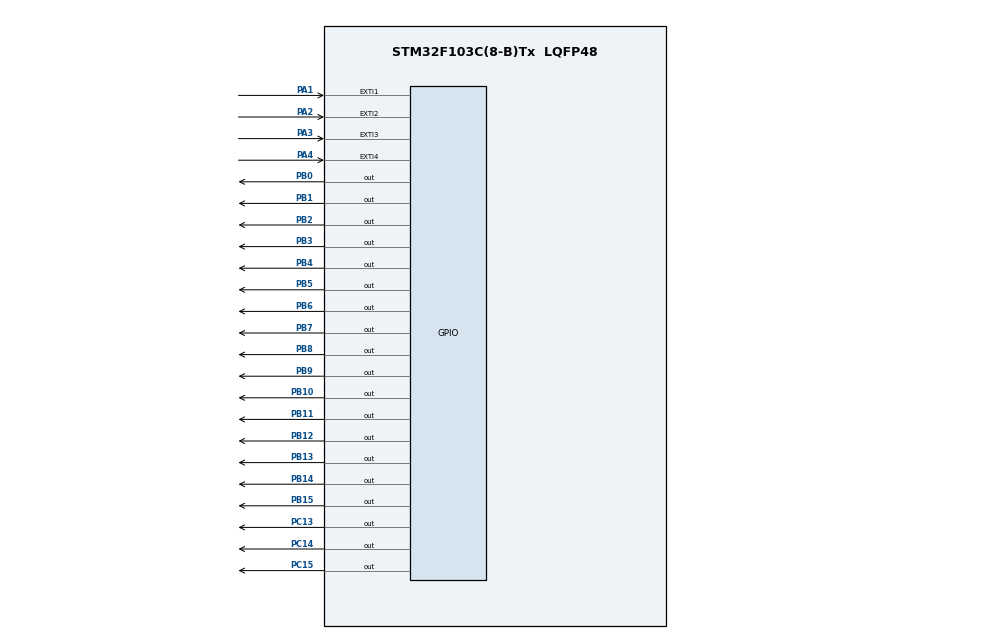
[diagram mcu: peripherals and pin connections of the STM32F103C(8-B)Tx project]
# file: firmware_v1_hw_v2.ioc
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Mcu.Family=STM32F1
Mcu.Name=STM32F103C(8-B)Tx
Mcu.Package=LQFP48
NVIC.EXTI1_IRQn=true\:0\:0\:false\:false\:true\:true\:true\:true
NVIC.EXTI2_IRQn=true\:0\:0\:false\:false\:true\:true\:true\:true
NVIC.EXTI3_IRQn=true\:0\:0\:false\:false\:true\:true\:true\:true
NVIC.EXTI4_IRQn=true\:0\:0\:false\:false\:true\:true\:true\:true
NVIC.PriorityGroup=NVIC_PRIORITYGROUP_4
NVIC.TIM1_UP_IRQn=true\:0\:0\:false\:false\:true\:true\:true\:true
NVIC.TIM2_IRQn=true\:0\:0\:false\:false\:true\:true\:true\:true
PA0-WKUP.Mode=SYS_WakeUp0
PA0-WKUP.Signal=SYS_WKUP
PA1.GPIO_ModeDefaultEXTI=GPIO_MODE_IT_RISING_FALLING
PA1.GPIO_PuPd=GPIO_PULLDOWN
PA1.Signal=GPXTI1
PA13.Mode=Serial_Wire
PA13.Signal=SYS_JTMS-SWDIO
PA14.Mode=Serial_Wire
PA14.Signal=SYS_JTCK-SWCLK
PA2.GPIO_ModeDefaultEXTI=GPIO_MODE_IT_RISING_FALLING
PA2.GPIO_PuPd=GPIO_PULLDOWN
PA2.Signal=GPXTI2
PA3.GPIO_ModeDefaultEXTI=GPIO_MODE_IT_RISING_FALLING
PA3.GPIO_PuPd=GPIO_PULLDOWN
PA3.Signal=GPXTI3
PA4.GPIO_ModeDefaultEXTI=GPIO_MODE_IT_RISING_FALLING
PA4.GPIO_PuPd=GPIO_PULLDOWN
PA4.Signal=GPXTI4
PB0.Signal=GPIO_Output
PB1.PinState=GPIO_PIN_RESET
PB1.Signal=GPIO_Output
PB10.Signal=GPIO_Output
PB11.Signal=GPIO_Output
PB12.Signal=GPIO_Output
PB13.Signal=GPIO_Output
PB14.Signal=GPIO_Output
PB15.Signal=GPIO_Output
PB2.Signal=GPIO_Output
PB3.Signal=GPIO_Output
PB4.Signal=GPIO_Output
PB5.Signal=GPIO_Output
PB6.Signal=GPIO_Output
PB7.Signal=GPIO_Output
PB8.Signal=GPIO_Output
PB9.Signal=GPIO_Output
PC13-TAMPER-RTC.PinState=GPIO_PIN_RESET
PC13-TAMPER-RTC.Signal=GPIO_Output
PC14-OSC32_IN.PinState=GPIO_PIN_SET
PC14-OSC32_IN.Signal=GPIO_Output
PC15-OSC32_OUT.Signal=GPIO_Output
ProjectManager.HeapSize=0x200
ProjectManager.StackSize=0x400
ProjectManager.TargetToolchain=STM32CubeIDE
RCC.AHBCLKDivider=RCC_SYSCLK_DIV2
RCC.AHBFreq_Value=4000000
RCC.APB1Freq_Value=4000000
RCC.APB1TimFreq_Value=4000000
RCC.APB2Freq_Value=4000000
RCC.APB2TimFreq_Value=4000000
RCC.HCLKFreq_Value=4000000
TIM1.Period=8
TIM1.Prescaler=49
TIM2.Period=20
TIM2.Prescaler=3999
VP_TIM1_VS_ClockSourceINT.Mode=Internal
VP_TIM2_VS_ClockSourceINT.Mode=Internal
board=custom

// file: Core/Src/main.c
/* USER CODE BEGIN Header */
/**
  ******************************************************************************
  * @file           : main.c
  * @brief          : Optimized Main program body for Charlieplexing (4MHz Low Power)
  * Updated for Hardware V2 Pin Assignments & 4-Button UI (19x18 Matrix)
  ******************************************************************************
  */
/* USER CODE END Header */
#include "main.h"

/* USER CODE BEGIN Includes */

#include "animations.h"

/* USER CODE END Includes */

/* USER CODE BEGIN PTD */

// 1. STRUCTURES FOR LOOKUP TABLE
// Optimized: We only need to control Port B and Port C for the LEDs now.
typedef struct {
    uint32_t PortB_CRL;
    uint32_t PortB_CRH;
    uint32_t PortB_ODR;

    uint32_t PortC_CRH;
    uint32_t PortC_ODR;
} RowRegisterState;

typedef struct {
    GPIO_TypeDef* port;
    uint8_t pinIndex;
} PinDef;

typedef struct {
    PinDef anode;
    PinDef cathodes[18]; // 19 pins total -> 1 anode, 18 cathodes
} HardwareRowDef;

/* USER CODE END PTD */

/* USER CODE BEGIN PD */
#define TICK_DELAY 0x3
#define COLOR_DEPTH 2
#define COLOR_COUNT (1 << COLOR_DEPTH)
#define COLOR_MAX (COLOR_COUNT - 1)
#define ROW_COUNT 19
#define xres 18
#define yres 19
/* USER CODE END PD */

TIM_HandleTypeDef htim1;
TIM_HandleTypeDef htim2;

/* USER CODE BEGIN PV */
volatile int frame = 0;
volatile int current_frame_idx = 0;
volatile uint8_t update_frame_flag = 1;

volatile uint8_t system_active = 1;
uint32_t last_activity_time = 0;

RowRegisterState frameBufferLUT[ROW_COUNT][COLOR_DEPTH];
uint32_t bitDuration[COLOR_DEPTH];

// 3. HARDWARE PIN MAPPING (19 Pins Total)
// PB0-PB15, PC13-PC15 based on the v2 text file mapping
const PinDef ALL_PINS[19] = {
    {GPIOB, 0},  {GPIOB, 1},  {GPIOB, 2},  {GPIOB, 3},
    {GPIOB, 4},  {GPIOB, 5},  {GPIOB, 6},  {GPIOB, 7},
    {GPIOB, 8},  {GPIOB, 9},  {GPIOB, 10}, {GPIOB, 11},
    {GPIOB, 12}, {GPIOB, 13}, {GPIOB, 14}, {GPIOB, 15},
    {GPIOC, 13}, {GPIOC, 14}, {GPIOC, 15}
};
/* USER CODE END PV */

void SystemClock_Config(void);
static void MX_GPIO_Init(void);
static void MX_TIM1_Init(void);
static void MX_TIM2_Init(void);
/* USER CODE BEGIN PFP */

void initBitDurationLUT(void);
void GetHardwareRow(int rowIndex, HardwareRowDef *rowDef);
void PrecomputeFrame(void);

/* USER CODE END PFP */

int main(void)
{

  /* MCU Configuration--------------------------------------------------------*/

  /* Reset of all peripherals, Initializes the Flash interface and the Systick. */
  HAL_Init();

  /* USER CODE BEGIN Init */

  initBitDurationLUT();

  /* USER CODE END Init */

  /* Configure the system clock */
  SystemClock_Config();

  /* Initialize all configured peripherals */
  MX_GPIO_Init();
  MX_TIM1_Init();
  MX_TIM2_Init();
  /* USER CODE BEGIN 2 */

  PrecomputeFrame();

  HAL_TIM_Base_Start_IT(&htim1);
  HAL_TIM_Base_Start_IT(&htim2);

  /* USER CODE END 2 */

  /* Infinite loop */
  /* USER CODE BEGIN WHILE */
  last_activity_time = HAL_GetTick();
  while (1)
  {
    /* USER CODE END WHILE */

    /* USER CODE BEGIN 3 */

	  // --- SLEEP LOGIC (10 Seconds Timeout) ---
	  if(system_active && (HAL_GetTick() - last_activity_time > 10000)){
		  system_active = 0;

		  // Disable Timers to stop interrupts
		  HAL_TIM_Base_Stop_IT(&htim1);
		  HAL_TIM_Base_Stop_IT(&htim2);

		  // Turn off all LEDs (Reset ODRs to safe low state)
		  GPIOB->ODR = 0;
		  GPIOC->ODR = 0;

//		  // Enter Stop Mode
//		  HAL_SuspendTick();
//		  HAL_PWR_EnterSTOPMode(PWR_LOWPOWERREGULATOR_ON, PWR_STOPENTRY_WFI);
//
//		  // --- WAKE UP POINT ---
//		  SystemClock_Config(); // Restore 4 MHz clock
//		  HAL_ResumeTick();
//
//		  system_active = 1;
//		  last_activity_time = HAL_GetTick();
//
//		  // Restart Timers
//		  HAL_TIM_Base_Start_IT(&htim1);
//		  HAL_TIM_Base_Start_IT(&htim2);

		  // 1. Clear the Wake-Up flag (Ensures we don't wake up instantly)
		  __HAL_PWR_CLEAR_FLAG(PWR_FLAG_WU);

		  // 2. Enable the Wake-Up pin (PA0)
		  HAL_PWR_EnableWakeUpPin(PWR_WAKEUP_PIN1);

		  // 3. Enter Standby Mode
		  HAL_PWR_EnterSTANDBYMode();

		  // NOTE: The MCU will completely power down here.
		  // It will NEVER execute code past this line.
		  // Upon waking, it will reboot and start from the top of main()
	  }

	  // --- RENDER LOGIC ---
	  // Only calculate when TIM2 says the frame has changed
	  if(system_active && update_frame_flag) {
		  PrecomputeFrame();
		  update_frame_flag = 0;
	  }
  }
  /* USER CODE END 3 */
}

void SystemClock_Config(void)
{
  RCC_OscInitTypeDef RCC_OscInitStruct = {0};
  RCC_ClkInitTypeDef RCC_ClkInitStruct = {0};

  /** Initializes the RCC Oscillators according to the specified parameters
  * in the RCC_OscInitTypeDef structure.
  */
  RCC_OscInitStruct.OscillatorType = RCC_OSCILLATORTYPE_HSI;
  RCC_OscInitStruct.HSIState = RCC_HSI_ON;
  RCC_OscInitStruct.HSICalibrationValue = RCC_HSICALIBRATION_DEFAULT;
  RCC_OscInitStruct.PLL.PLLState = RCC_PLL_NONE;
  if (HAL_RCC_OscConfig(&RCC_OscInitStruct) != HAL_OK)
  {
    Error_Handler();
  }

  /** Initializes the CPU, AHB and APB buses clocks
  */
  RCC_ClkInitStruct.ClockType = RCC_CLOCKTYPE_HCLK|RCC_CLOCKTYPE_SYSCLK
                              |RCC_CLOCKTYPE_PCLK1|RCC_CLOCKTYPE_PCLK2;
  RCC_ClkInitStruct.SYSCLKSource = RCC_SYSCLKSOURCE_HSI;
  RCC_ClkInitStruct.AHBCLKDivider = RCC_SYSCLK_DIV2;
  RCC_ClkInitStruct.APB1CLKDivider = RCC_HCLK_DIV1;
  RCC_ClkInitStruct.APB2CLKDivider = RCC_HCLK_DIV1;

  if (HAL_RCC_ClockConfig(&RCC_ClkInitStruct, FLASH_LATENCY_0) != HAL_OK)
  {
    Error_Handler();
  }
}

static void MX_TIM1_Init(void)
{

  TIM_ClockConfigTypeDef sClockSourceConfig = {0};
  TIM_MasterConfigTypeDef sMasterConfig = {0};

  htim1.Instance = TIM1;
  htim1.Init.Prescaler = 49;
  htim1.Init.CounterMode = TIM_COUNTERMODE_UP;
  htim1.Init.Period = 8;
  htim1.Init.ClockDivision = TIM_CLOCKDIVISION_DIV1;
  htim1.Init.RepetitionCounter = 0;
  htim1.Init.AutoReloadPreload = TIM_AUTORELOAD_PRELOAD_DISABLE;
  if (HAL_TIM_Base_Init(&htim1) != HAL_OK)
  {
    Error_Handler();
  }
  sClockSourceConfig.ClockSource = TIM_CLOCKSOURCE_INTERNAL;
  if (HAL_TIM_ConfigClockSource(&htim1, &sClockSourceConfig) != HAL_OK)
  {
    Error_Handler();
  }
  sMasterConfig.MasterOutputTrigger = TIM_TRGO_RESET;
  sMasterConfig.MasterSlaveMode = TIM_MASTERSLAVEMODE_DISABLE;
  if (HAL_TIMEx_MasterConfigSynchronization(&htim1, &sMasterConfig) != HAL_OK)
  {
    Error_Handler();
  }

}

static void MX_TIM2_Init(void)
{

  TIM_ClockConfigTypeDef sClockSourceConfig = {0};
  TIM_MasterConfigTypeDef sMasterConfig = {0};

  htim2.Instance = TIM2;
  htim2.Init.Prescaler = 3999;
  htim2.Init.CounterMode = TIM_COUNTERMODE_UP;
  htim2.Init.Period = 20;
  htim2.Init.ClockDivision = TIM_CLOCKDIVISION_DIV1;
  htim2.Init.AutoReloadPreload = TIM_AUTORELOAD_PRELOAD_DISABLE;
  if (HAL_TIM_Base_Init(&htim2) != HAL_OK)
  {
    Error_Handler();
  }
  sClockSourceConfig.ClockSource = TIM_CLOCKSOURCE_INTERNAL;
  if (HAL_TIM_ConfigClockSource(&htim2, &sClockSourceConfig) != HAL_OK)
  {
    Error_Handler();
  }
  sMasterConfig.MasterOutputTrigger = TIM_TRGO_RESET;
  sMasterConfig.MasterSlaveMode = TIM_MASTERSLAVEMODE_DISABLE;
  if (HAL_TIMEx_MasterConfigSynchronization(&htim2, &sMasterConfig) != HAL_OK)
  {
    Error_Handler();
  }

}

static void MX_GPIO_Init(void)
{
  GPIO_InitTypeDef GPIO_InitStruct = {0};

  /* GPIO Ports Clock Enable */
  __HAL_RCC_GPIOC_CLK_ENABLE();
  __HAL_RCC_GPIOA_CLK_ENABLE();
  __HAL_RCC_GPIOB_CLK_ENABLE();

  /*Configure GPIO pin Output Level */
  HAL_GPIO_WritePin(GPIOC, GPIO_PIN_13|GPIO_PIN_15, GPIO_PIN_RESET);

  /*Configure GPIO pin Output Level */
  HAL_GPIO_WritePin(GPIOC, GPIO_PIN_14, GPIO_PIN_SET);

  /*Configure GPIO pin Output Level */
  HAL_GPIO_WritePin(GPIOB, GPIO_PIN_0|GPIO_PIN_1|GPIO_PIN_2|GPIO_PIN_10
                          |GPIO_PIN_11|GPIO_PIN_12|GPIO_PIN_13|GPIO_PIN_14
                          |GPIO_PIN_15|GPIO_PIN_3|GPIO_PIN_4|GPIO_PIN_5
                          |GPIO_PIN_6|GPIO_PIN_7|GPIO_PIN_8|GPIO_PIN_9, GPIO_PIN_RESET);

  /*Configure GPIO pins : PC13 PC14 PC15 */
  GPIO_InitStruct.Pin = GPIO_PIN_13|GPIO_PIN_14|GPIO_PIN_15;
  GPIO_InitStruct.Mode = GPIO_MODE_OUTPUT_PP;
  GPIO_InitStruct.Pull = GPIO_NOPULL;
  GPIO_InitStruct.Speed = GPIO_SPEED_FREQ_LOW;
  HAL_GPIO_Init(GPIOC, &GPIO_InitStruct);

  /*Configure GPIO pins : PA1 PA2 PA3 PA4 */
  GPIO_InitStruct.Pin = GPIO_PIN_1|GPIO_PIN_2|GPIO_PIN_3|GPIO_PIN_4;
  GPIO_InitStruct.Mode = GPIO_MODE_IT_RISING_FALLING;
  GPIO_InitStruct.Pull = GPIO_PULLDOWN;
  HAL_GPIO_Init(GPIOA, &GPIO_InitStruct);

  /*Configure GPIO pins : PB0 PB1 PB2 PB10
                           PB11 PB12 PB13 PB14
                           PB15 PB3 PB4 PB5
                           PB6 PB7 PB8 PB9 */
  GPIO_InitStruct.Pin = GPIO_PIN_0|GPIO_PIN_1|GPIO_PIN_2|GPIO_PIN_10
                          |GPIO_PIN_11|GPIO_PIN_12|GPIO_PIN_13|GPIO_PIN_14
                          |GPIO_PIN_15|GPIO_PIN_3|GPIO_PIN_4|GPIO_PIN_5
                          |GPIO_PIN_6|GPIO_PIN_7|GPIO_PIN_8|GPIO_PIN_9;
  GPIO_InitStruct.Mode = GPIO_MODE_OUTPUT_PP;
  GPIO_InitStruct.Pull = GPIO_NOPULL;
  GPIO_InitStruct.Speed = GPIO_SPEED_FREQ_LOW;
  HAL_GPIO_Init(GPIOB, &GPIO_InitStruct);

  /* EXTI interrupt init*/
  HAL_NVIC_SetPriority(EXTI1_IRQn, 0, 0);
  HAL_NVIC_EnableIRQ(EXTI1_IRQn);

  HAL_NVIC_SetPriority(EXTI2_IRQn, 0, 0);
  HAL_NVIC_EnableIRQ(EXTI2_IRQn);

  HAL_NVIC_SetPriority(EXTI3_IRQn, 0, 0);
  HAL_NVIC_EnableIRQ(EXTI3_IRQn);

  HAL_NVIC_SetPriority(EXTI4_IRQn, 0, 0);
  HAL_NVIC_EnableIRQ(EXTI4_IRQn);

}

/* USER CODE BEGIN 4 */

void HAL_TIM_PeriodElapsedCallback(TIM_HandleTypeDef* htim)
{
    static int row = 0;
    static int bit = 0;

    if(htim->Instance == TIM1)
    {
        RowRegisterState *state = &frameBufferLUT[row][bit];

        // 1. Dump Registers (Highly optimized, only writes to PB & PC)
        GPIOB->CRL = state->PortB_CRL;
        GPIOB->CRH = state->PortB_CRH;
        GPIOB->ODR = state->PortB_ODR;

        // Note: For Port C we only touch the upper CRH where pins 13, 14, 15 live
        GPIOC->CRH = state->PortC_CRH;
        GPIOC->ODR = state->PortC_ODR;

        // 2. Advance Counters
        row++;
        if(row >= ROW_COUNT)
        {
            row = 0;
            bit++;
            if(bit >= COLOR_DEPTH) bit = 0;

            TIM1->ARR = bitDuration[bit];
        }
    }

    if(htim->Instance == TIM2)
    {
        current_frame_idx++;
        if (current_frame_idx >= ANIMATION_FRAMES) {
            current_frame_idx = 0;
        }
        update_frame_flag = 1;
    }
}

void PrecomputeFrame(void) {
    const uint32_t DEFAULT_CRL = 0x44444444;
    const uint32_t DEFAULT_CRH = 0x44444444;

    HardwareRowDef rowHardware;

    for(int row = 0; row < ROW_COUNT; row++) {
        GetHardwareRow(row, &rowHardware);

        for(int bitPlane = 0; bitPlane < COLOR_DEPTH; bitPlane++) {

            RowRegisterState *state = &frameBufferLUT[row][bitPlane];

            // 1. Reset State to Safe Defaults (Inputs floating)
            state->PortB_CRL = DEFAULT_CRL;
            state->PortB_CRH = DEFAULT_CRH;
            state->PortB_ODR = 0;

            state->PortC_CRH = DEFAULT_CRH;
            state->PortC_ODR = 0;

            // 2. Configure ANODE (Active High)
            PinDef anode = rowHardware.anode;

            // Determine Port Pointers for B & C
            uint32_t *crl = (anode.pinIndex < 8) ? ((anode.port == GPIOB) ? &state->PortB_CRL : NULL)
                                                 : ((anode.port == GPIOB) ? &state->PortB_CRH : &state->PortC_CRH);

            uint32_t *odr = (anode.port == GPIOB) ? &state->PortB_ODR : &state->PortC_ODR;

            if(crl) {
                uint8_t shift = (anode.pinIndex % 8) * 4;
                *crl &= ~(0xF << shift);
                *crl |=  (0x2 << shift); // Output 2MHz Push-Pull
                *odr |=  (1 << anode.pinIndex); // Set HIGH
            }

            // 3. Configure CATHODES (Active Low)
            uint32_t rowData = animation_data[current_frame_idx][row];

            for(int col = 0; col < xres; col++) {
                if((rowData >> col) & 0x01) {
                    PinDef cathode = rowHardware.cathodes[col];

                    uint32_t *c_crl = (cathode.pinIndex < 8) ? ((cathode.port == GPIOB) ? &state->PortB_CRL : NULL)
                                                             : ((cathode.port == GPIOB) ? &state->PortB_CRH : &state->PortC_CRH);

                    uint32_t *c_odr = (cathode.port == GPIOB) ? &state->PortB_ODR : &state->PortC_ODR;

                    if(c_crl) {
                        uint8_t c_shift = (cathode.pinIndex % 8) * 4;
                        *c_crl &= ~(0xF << c_shift);
                        *c_crl |=  (0x2 << c_shift); // Output 2MHz
                        *c_odr &= ~(1 << cathode.pinIndex); // Set LOW
                    }
                }
            }
        }
    }
}

// Helper to map Row Index -> Hardware Pins (1 Anode, 18 Cathodes)
void GetHardwareRow(int rowIndex, HardwareRowDef *rowDef) {
    int anodeIndex = 18 - rowIndex; // Reverse order mapping as done previously
    rowDef->anode = ALL_PINS[anodeIndex];

    int cathodeCount = 0;
    for (int i = 0; i < 19; i++) {
        if (i == anodeIndex) continue;
        rowDef->cathodes[cathodeCount++] = ALL_PINS[i];
    }
}

void initBitDurationLUT(void){
    for(uint32_t i = 0; i < COLOR_DEPTH; i++){
        bitDuration[i] = 20 * (1 << i);
    }
}

// Update activity timer when ANY button (PA0-PA4) triggers an EXTI
void HAL_GPIO_EXTI_Callback(uint16_t GPIO_Pin)
{
    // PA0-PA4 are the newly assigned buttons
    if (GPIO_Pin == GPIO_PIN_0 || GPIO_Pin == GPIO_PIN_1 || GPIO_Pin == GPIO_PIN_2 || GPIO_Pin == GPIO_PIN_3 || GPIO_Pin == GPIO_PIN_4)
    {
        last_activity_time = HAL_GetTick();
    }
}
/* USER CODE END 4 */

void Error_Handler(void)
{
  __disable_irq();
  while (1)
  {
  }
}
